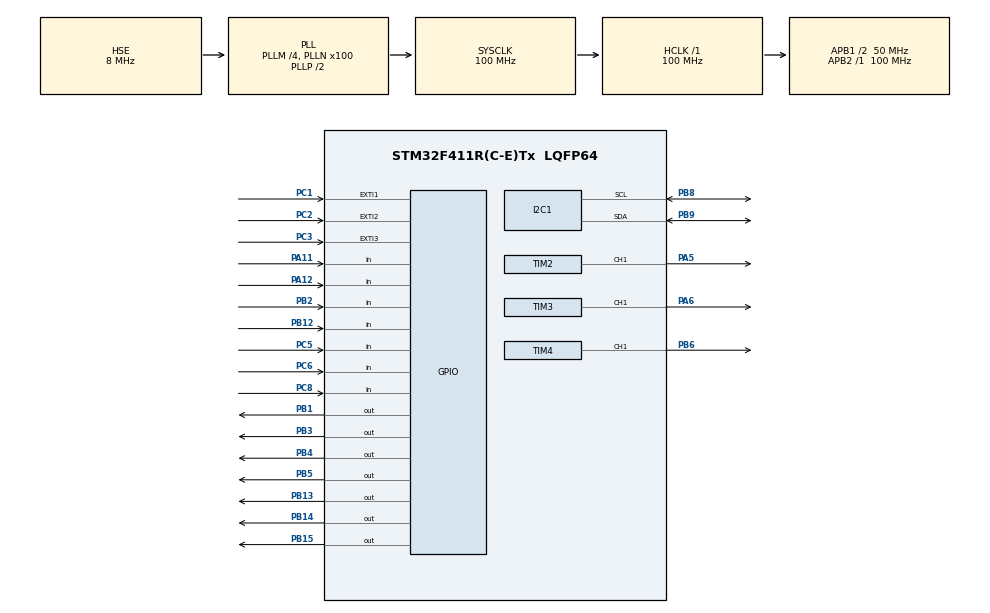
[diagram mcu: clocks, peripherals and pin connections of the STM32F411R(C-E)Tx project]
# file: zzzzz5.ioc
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Mcu.Family=STM32F4
Mcu.Name=STM32F411R(C-E)Tx
Mcu.Package=LQFP64
NVIC.EXTI1_IRQn=true\:0\:0\:false\:false\:true\:true\:true\:true
NVIC.EXTI2_IRQn=true\:0\:0\:false\:false\:true\:true\:true\:true
NVIC.EXTI3_IRQn=true\:0\:0\:false\:false\:true\:true\:true\:true
NVIC.PriorityGroup=NVIC_PRIORITYGROUP_4
PA11.Signal=GPIO_Input
PA12.Signal=GPIO_Input
PA13.Mode=Serial_Wire
PA13.Signal=SYS_JTMS-SWDIO
PA14.Mode=Serial_Wire
PA14.Signal=SYS_JTCK-SWCLK
PA5.Signal=S_TIM2_CH1_ETR
PA6.Signal=S_TIM3_CH1
PB1.GPIO_Speed=GPIO_SPEED_FREQ_HIGH
PB1.PinState=GPIO_PIN_RESET
PB1.Signal=GPIO_Output
PB12.Signal=GPIO_Input
PB13.GPIO_Speed=GPIO_SPEED_FREQ_HIGH
PB13.PinState=GPIO_PIN_RESET
PB13.Signal=GPIO_Output
PB14.GPIO_Speed=GPIO_SPEED_FREQ_HIGH
PB14.PinState=GPIO_PIN_RESET
PB14.Signal=GPIO_Output
PB15.GPIO_Speed=GPIO_SPEED_FREQ_HIGH
PB15.PinState=GPIO_PIN_RESET
PB15.Signal=GPIO_Output
PB2.Signal=GPIO_Input
PB3.Signal=GPIO_Output
PB4.Signal=GPIO_Output
PB5.Signal=GPIO_Output
PB6.Signal=S_TIM4_CH1
PB8.Mode=I2C
PB8.Signal=I2C1_SCL
PB9.Mode=I2C
PB9.Signal=I2C1_SDA
PC1.Signal=GPXTI1
PC2.Signal=GPXTI2
PC3.Signal=GPXTI3
PC5.Signal=GPIO_Input
PC6.Signal=GPIO_Input
PC8.Signal=GPIO_Input
PH0\ -\ OSC_IN.Mode=HSE-External-Oscillator
PH0\ -\ OSC_IN.Signal=RCC_OSC_IN
PH1\ -\ OSC_OUT.Mode=HSE-External-Oscillator
PH1\ -\ OSC_OUT.Signal=RCC_OSC_OUT
ProjectManager.HeapSize=0x200
ProjectManager.StackSize=0x400
ProjectManager.TargetToolchain=STM32CubeIDE
RCC.48MHZClocksFreq_Value=50000000
RCC.AHBFreq_Value=100000000
RCC.APB1CLKDivider=RCC_HCLK_DIV2
RCC.APB1Freq_Value=50000000
RCC.APB1TimFreq_Value=100000000
RCC.APB2Freq_Value=100000000
RCC.APB2TimFreq_Value=100000000
RCC.CortexFreq_Value=100000000
RCC.HCLKFreq_Value=100000000
RCC.HSE_VALUE=8000000
RCC.HSI_VALUE=16000000
RCC.LSE_VALUE=32768
RCC.PLLM=4
RCC.PLLN=100
RCC.PLLSourceVirtual=RCC_PLLSOURCE_HSE
RCC.SYSCLKFreq_VALUE=100000000
RCC.SYSCLKSource=RCC_SYSCLKSOURCE_PLLCLK
RCC.VCOOutputFreq_Value=200000000
SH.S_TIM2_CH1_ETR.0=TIM2_CH1,PWM Generation1 CH1
SH.S_TIM3_CH1.0=TIM3_CH1,PWM Generation1 CH1
SH.S_TIM4_CH1.0=TIM4_CH1,PWM Generation1 CH1
TIM11.Prescaler=100-1
TIM2.Channel-PWM\ Generation1\ CH1=TIM_CHANNEL_1
TIM2.Period=100-1
TIM2.Prescaler=1000-1
TIM3.Channel-PWM\ Generation1\ CH1=TIM_CHANNEL_1
TIM3.Period=1000-1
TIM3.Prescaler=2000-1
TIM4.Channel-PWM\ Generation1\ CH1=TIM_CHANNEL_1
TIM4.Period=1000-1
TIM4.Prescaler=2000-1
VP_TIM11_VS_ClockSourceINT.Mode=Enable_Timer
VP_TIM2_VS_ClockSourceINT.Mode=Internal
VP_TIM3_VS_ClockSourceINT.Mode=Internal
VP_TIM4_VS_ClockSourceINT.Mode=Internal
board=custom

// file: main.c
/* USER CODE BEGIN Header */
/**
  ******************************************************************************
  * @file           : main.c
  * @brief          : Main program body
  ******************************************************************************
  * @attention
  *
  * Copyright (c) 2025 STMicroelectronics.
  * All rights reserved.
  *
  * This software is licensed under terms that can be found in the LICENSE file
  * in the root directory of this software component.
  * If no LICENSE file comes with this software, it is provided AS-IS.
  *
  ******************************************************************************
  */
/* USER CODE END Header */
#include "main.h"
#include "i2c.h"
#include "tim.h"
#include "gpio.h"

/* USER CODE BEGIN Includes */

#include "button.h"
#include "stepper.h"
#include "delay.h"
#include "int.h"
#include "stdio.h"
#include "string.h"
#include "i2c_lcd.h"
#include "fnd.h"
#include "servo.h"
#include "ezmotor.h"
#include "buzzer.h"
#include "argorithm.h"

/* USER CODE END Includes */

/* USER CODE BEGIN PV */
//  volatile uint8_t rxDataaa = 0;
/* USER CODE END PV */

void SystemClock_Config(void);

int main(void)
{

  /* MCU Configuration--------------------------------------------------------*/

  /* Reset of all peripherals, Initializes the Flash interface and the Systick. */
  HAL_Init();

  /* Configure the system clock */
  SystemClock_Config();

  /* Initialize all configured peripherals */
  MX_GPIO_Init();
  MX_TIM11_Init();
  MX_TIM3_Init();
  MX_I2C1_Init();
  MX_TIM2_Init();
  MX_TIM4_Init();
  /* USER CODE BEGIN 2 */

	disableInterrupt (GPIO_PIN_1);
	disableInterrupt (GPIO_PIN_2);
	disableInterrupt (GPIO_PIN_3);

	i2c_lcd_init();	// lcd inint -> init 함수 안에 커스텀 캐릭터 들어가야함
	HAL_TIM_Base_Start (&htim3);  						// 타이머3 시작
	HAL_TIM_Base_Start (&htim11);							// 타이머11 시작
	HAL_TIM_PWM_Start(&htim2, TIM_CHANNEL_1); // pwm 출력 시작
	HAL_TIM_PWM_Start(&htim3, TIM_CHANNEL_1); // pwm 출력 시작
	HAL_TIM_PWM_Start(&htim4, TIM_CHANNEL_1); // pwm 출력 시작

  /* USER CODE END 2 */

  /* Infinite loop */
  /* USER CODE BEGIN WHILE */
	while (1)
	{
		while (stopDelay) // 인터럽트 플래그 루틴(포토인터럽터 콜백함수 내 플래그)
			{
				stopMotor (); //모터 스탑
				buzzer_update();
				servo_update (); //서브모터 문열림
				static uint32_t prevTime = 0;
				uint32_t currTime = HAL_GetTick ();
				lcd_set_floors (rxData, targetData);
				lcd_update ();
				if (prevTime == 0) //prevTime을 시스템 시간으로 초기화
				{
					prevTime = currTime;
				}
				if ((currTime - prevTime) >= 3000) // 3000ms 동안 while문 실행
				{
					prevTime = 0; 	//prevTime으로 초기화
					stopDelay = false; //인터럽트 플래그 오프
					buzzer_off (); //부저 오프
				}
				scanButtons (); //모터 스탑 중에도 버튼입력 확인
			}
		scanButtons (); //버튼입력 확인해서 state배열에 집어넣기
		floorCheck (); 	//해당층 포토인터럽터에 걸리면 rxData = 해당층
		lcd_update (); // lcd 현상태 업데이트
		lcd_set_floors (rxData, targetData); //현재층(rxData)와 목표층(포토인터럽터 활성화 핀) LCD에 정보입력
		FND_DisplayNumber (rxData); //FND에 현재층 표시(승강기 내부 층표시) 	//인터럽트 콜백함수 내 플래그 루틴(5초간 모터 스탑)
		scanButtons (); //버튼입력 확인해서 state배열에 집어넣기
		buttonSet (); 	//버튼입력 확인한 배열을 비트연산자(0b00000000) 형태로 변환
		argorithm (); 	//비트연산자 형태별 승강기 우선순위 구현
		startMotor (); 	//현재 남은스텝수, 진행방향, 모터구동 상태 확인하여 실행

		/* USER CODE END WHILE */

	}
}

void SystemClock_Config(void)
{
  RCC_OscInitTypeDef RCC_OscInitStruct = {0};
  RCC_ClkInitTypeDef RCC_ClkInitStruct = {0};

  /** Configure the main internal regulator output voltage
  */
  __HAL_RCC_PWR_CLK_ENABLE();
  __HAL_PWR_VOLTAGESCALING_CONFIG(PWR_REGULATOR_VOLTAGE_SCALE1);

  /** Initializes the RCC Oscillators according to the specified parameters
  * in the RCC_OscInitTypeDef structure.
  */
  RCC_OscInitStruct.OscillatorType = RCC_OSCILLATORTYPE_HSE;
  RCC_OscInitStruct.HSEState = RCC_HSE_ON;
  RCC_OscInitStruct.PLL.PLLState = RCC_PLL_ON;
  RCC_OscInitStruct.PLL.PLLSource = RCC_PLLSOURCE_HSE;
  RCC_OscInitStruct.PLL.PLLM = 4;
  RCC_OscInitStruct.PLL.PLLN = 100;
  RCC_OscInitStruct.PLL.PLLP = RCC_PLLP_DIV2;
  RCC_OscInitStruct.PLL.PLLQ = 4;
  if (HAL_RCC_OscConfig(&RCC_OscInitStruct) != HAL_OK)
  {
    Error_Handler();
  }

  /** Initializes the CPU, AHB and APB buses clocks
  */
  RCC_ClkInitStruct.ClockType = RCC_CLOCKTYPE_HCLK|RCC_CLOCKTYPE_SYSCLK
                              |RCC_CLOCKTYPE_PCLK1|RCC_CLOCKTYPE_PCLK2;
  RCC_ClkInitStruct.SYSCLKSource = RCC_SYSCLKSOURCE_PLLCLK;
  RCC_ClkInitStruct.AHBCLKDivider = RCC_SYSCLK_DIV1;
  RCC_ClkInitStruct.APB1CLKDivider = RCC_HCLK_DIV2;
  RCC_ClkInitStruct.APB2CLKDivider = RCC_HCLK_DIV1;

  if (HAL_RCC_ClockConfig(&RCC_ClkInitStruct, FLASH_LATENCY_3) != HAL_OK)
  {
    Error_Handler();
  }
}

void Error_Handler(void)
{
  __disable_irq();
  while (1)
  {
  }
}
